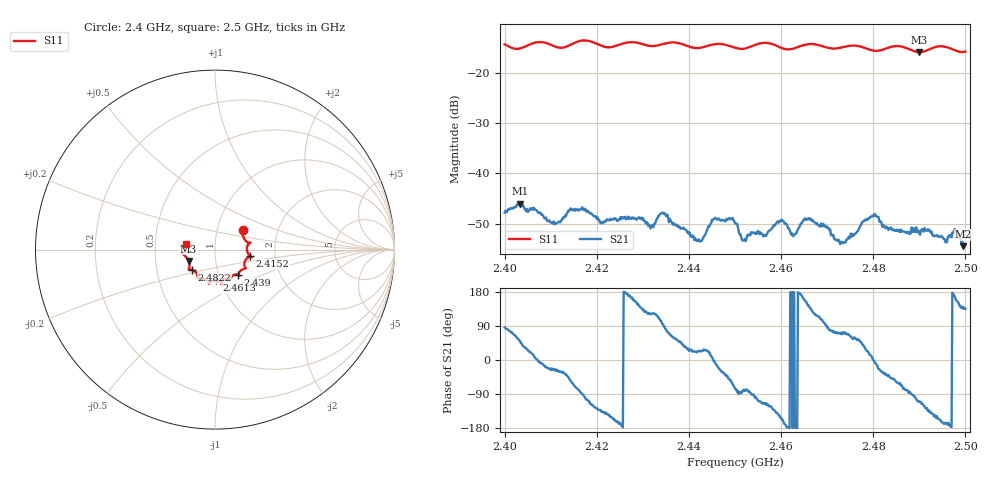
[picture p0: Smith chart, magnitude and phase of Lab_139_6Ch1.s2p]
# Hz S RI R 50
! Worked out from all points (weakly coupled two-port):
!   601 points, 2.4 GHz to 2.5 GHz, reference 50 ohm
!   highest |S21| = -46.01 dB at 2.4033 GHz (marker M1); lowest = -54.5 dB at 2.4995 GHz (marker M2)
!   lowest |S11| = -15.9 dB at 2.49 GHz (marker M3), VSWR 1.38, Z = 36.9 - j4.84 ohm
!   |S11| at or under -10 dB: start of sweep to end of sweep
!   S12 and S22 are empty: the file has one direction only
!   S11 on the Smith chart (normalised r, x): 2.4 GHz: 1.33, +0.31; 2.4152 GHz: 1.48, -0.11; 2.439 GHz: 1.24, -0.36; 2.4613 GHz: 0.96, -0.34; 2.4822 GHz: 0.76, -0.17; 2.5 GHz: 0.72, +0.05
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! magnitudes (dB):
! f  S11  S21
! 2.4 GHz  -14.4  -47.8
! 2.4033 GHz  -15.2  -46.0
! 2.4107 GHz  -14.7  -49.5
! 2.4152 GHz  -14.1  -47.0
! 2.4167 GHz  -13.6  -47.1
! 2.4212 GHz  -14.7  -49.7
! 2.4333 GHz  -14.5  -48.5
! 2.439 GHz  -14.4  -51.0
! 2.4423 GHz  -15.1  -53.5
! 2.4455 GHz  -14.3  -49.0
! 2.45 GHz  -15.0  -49.9
! 2.452 GHz  -15.2  -53.3
! 2.4613 GHz  -15.4  -50.3
! 2.4667 GHz  -14.3  -49.4
! 2.4733 GHz  -14.9  -53.8
! 2.4798 GHz  -15.6  -48.4
! 2.4822 GHz  -15.4  -50.3
! 2.4833 GHz  -15.0  -51.2
! 2.49 GHz  -15.9  -51.7
! 2.498 GHz  -15.6  -51.2
! 2.4995 GHz  -15.9  -54.5
! 2.5 GHz  -15.8  -54.3
